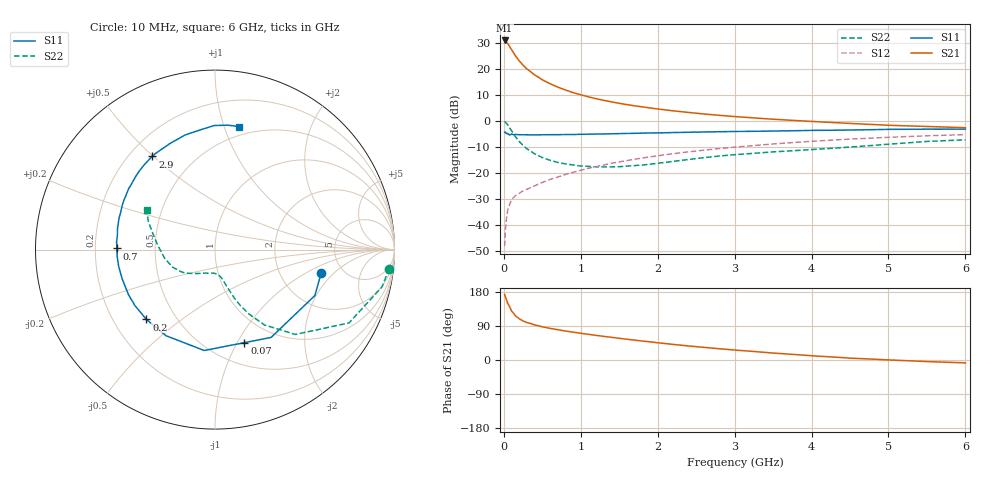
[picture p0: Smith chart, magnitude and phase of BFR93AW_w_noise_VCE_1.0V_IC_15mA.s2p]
! Infineon Technologies  Discrete & RF Semiconductors
! BFR93AW
! VCE =  1.0 V,  IC =  15 mA
! Common Emitter S-Parameters:  Jan 2017
# GHz  S  MA  R  50
!  f  S11  S21  S12  S22
! GHz  MAG  ANG  MAG  ANG  MAG  ANG  MAG  ANG
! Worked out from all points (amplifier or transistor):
!   77 points, 10 MHz to 6 GHz, reference 50 ohm
!   highest |S21| = 30.8 dB at 10 MHz (marker M1)
!   |S21| within 3 dB of that: start of sweep to 88.17 MHz
!   unconditionally stable (mu >= 1): 638.5 MHz to 2.502 GHz
!   at 130 MHz: K = 0.41, MSG = 27.6 dB, |S12| = -29.2 dB
!   at 2.2 GHz: K = 1.02, MAG = 7.3 dB, |S12| = -12.5 dB
!   at 6 GHz: K = 0.95, MSG = 1.3 dB, |S12| = -5.2 dB
!   lowest NFmin = 1.37 dB at 450 MHz
!   S11 on the Smith chart (normalised r, x): 10 MHz: 3.43, -1.43; 70 MHz: 0.73, -1.07; 200 MHz: 0.34, -0.38; 700 MHz: 0.29, +0.01; 2.9 GHz: 0.29, +0.50; 6 GHz: 0.42, +1.12
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0.01  0.606 -12.6  34.87 173.3  0.004 84.3  0.9757 -6.2
0.02  0.6125 -24.7  34.57 166.9  0.0082 85.2  0.9541 -12.5
0.05  0.5807 -57.4  30.63 149.3  0.0195 69.1  0.8511 -28.7
0.07  0.5436 -72.5  27.3 142.5  0.0239 62.4  0.7626 -34.7
0.1  0.5654 -96.1  23.25 129.1  0.0309 56.0  0.6508 -46.6
0.15  0.5519 -119.6  17.81 116.8  0.037 51.0  0.5026 -56.7
0.2  0.5454 -134.5  14.16 108.9  0.0412 50.9  0.4056 -62.2
0.25  0.5444 -144.9  11.71 103.1  0.0458 50.6  0.3405 -65.7
0.3  0.5435 -152.3  9.923 98.9  0.0492 51.7  0.2931 -68.1
0.4  0.5424 -162.7  7.62 92.5  0.0573 54.8  0.2347 -71.0
0.5  0.5447 -170.2  6.153 87.6  0.0665 57.4  0.1992 -73.3
0.6  0.5463 -175.8  5.177 83.5  0.0758 59.4  0.1768 -75.3
0.7  0.547 179.3  4.457 80.0  0.0843 61.3  0.1609 -77.0
0.9  0.5498 171.5  3.495 73.5  0.1041 62.5  0.1436 -82.2
1.1  0.5583 164.9  2.901 67.8  0.1243 63.0  0.135 -87.9
1.5  0.5733 154.1  2.181 57.3  0.1644 62.1  0.1332 -102.7
2.1  0.5953 139.9  1.631 43.4  0.2259 58.1  0.1613 -124.5
2.9  0.6256 123.9  1.249 28.0  0.3053 50.8  0.2195 -144.9
3.1  0.6309 120.1  1.187 24.8  0.3243 48.8  0.2316 -149.4
4.1  0.6617 103.0  0.964 10.0  0.4165 37.9  0.2893 -172.9
5.1  0.6917 89.1  0.819 -0.6  0.4934 26.5  0.3677 163.4
6  0.698 78.9  0.744 -7.6  0.5482 16.6  0.4366 149.9
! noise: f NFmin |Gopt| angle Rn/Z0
0.45  1.37  0.12  133  0.13
0.9  1.66  0.23  164  0.14
1.9  2.67  0.47  -144  0.2
2.4  3.3  0.54  -129  0.4
